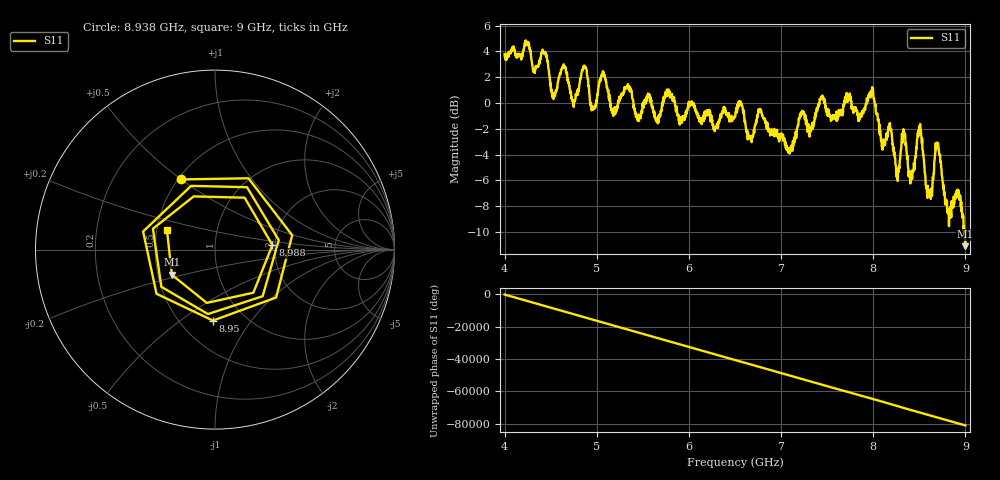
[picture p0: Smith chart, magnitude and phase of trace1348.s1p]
! Created with skrf 1.8.0 (http://scikit-rf.org).
# Hz S RI R 50.0
!freq ReS11 ImS11
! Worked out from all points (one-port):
!   1601 points, 4 GHz to 9 GHz, reference 50 ohm
!   lowest |S11| = -11.1 dB at 8.997 GHz (marker M1), VSWR 1.77, Z = 29.6 - j9.02 ohm
!   |S11| at or under -10 dB: 8.991728 GHz to end of sweep
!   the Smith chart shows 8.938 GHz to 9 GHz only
!   S11 on the Smith chart (normalised r, x): 8.938 GHz: 0.52, +0.50; 8.95 GHz: 0.72, -0.67; 8.988 GHz: 1.94, +0.11; 9 GHz: 0.57, +0.14
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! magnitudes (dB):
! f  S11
! 4 GHz  3.8
! 4.431 GHz  3.8
! 4.528 GHz  0.5
! 4.625 GHz  2.7
! 4.744 GHz  -0.1
! 4.866 GHz  2.9
! 4.956 GHz  -0.5
! 5.062 GHz  2.2
! 5.25 GHz  0.5
! 5.875 GHz  -1.0
! 6.5 GHz  -1.1
! 7.125 GHz  -3.5
! 7.225 GHz  -0.8
! 7.75 GHz  0.3
! 7.988 GHz  1.2
! 8.103 GHz  -3.3
! 8.266 GHz  -6.0
! 8.331 GHz  -2.1
! 8.375 GHz  -4.7
! 8.506 GHz  -1.9
! 8.6 GHz  -6.9
! 8.697 GHz  -3.3
! 8.809 GHz  -8.2
! 8.938 GHz  -7.2
! 8.95 GHz  -8.1
! 8.988 GHz  -9.9
! 8.997 GHz  -11.1
! 9 GHz  -10.8
